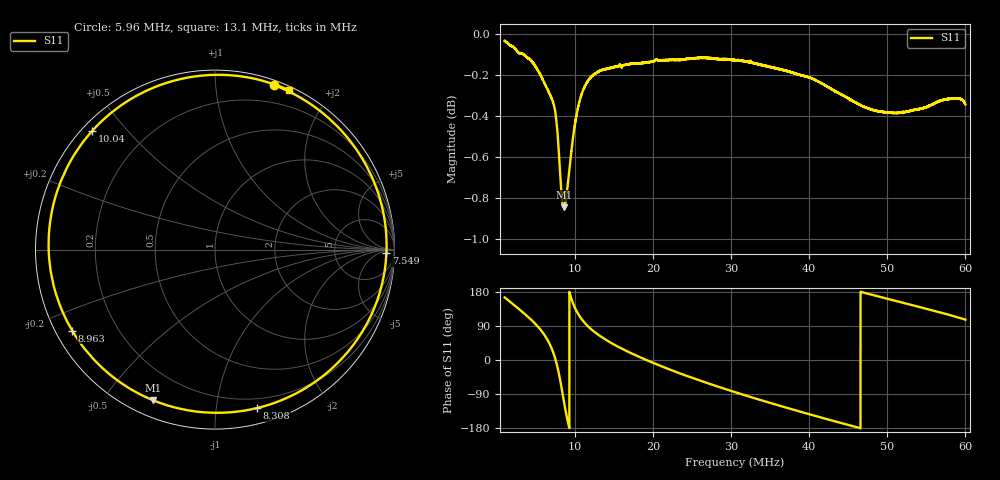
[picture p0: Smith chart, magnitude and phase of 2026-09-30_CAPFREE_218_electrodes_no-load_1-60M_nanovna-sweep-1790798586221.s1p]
! NanoVNA Web complex sweep
! Processing: unaveraged complex samples; linear segment spacing; no smoothing
# Hz S RI R 50
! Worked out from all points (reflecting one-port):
!   10100 points, 1 MHz to 60 MHz, reference 50 ohm
!   lowest |S11| = -0.8 dB at 8.618 MHz (marker M1), VSWR 20.60, Z = 3.51 - j33.4 ohm
!   phase of S11 starts at 165 deg and turns -779 deg over the sweep
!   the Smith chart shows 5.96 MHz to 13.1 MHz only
!   S11 on the Smith chart (normalised r, x): 5.96 MHz: 0.04, +1.42; 7.549 MHz: 37, -16; 8.308 MHz: 0.12, -1.29; 8.963 MHz: 0.05, -0.26; 10.04 MHz: 0.03, +0.40; 13.1 MHz: 0.04, +1.57
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1000000  -0.9628 0.255
2384554  -0.7842 0.6066
3979420  -0.4074 0.8984
5071874  -0.0416 0.9801
5959858  0.3286 0.9168
6836158  0.7471 0.6129
7548882  0.9553 -0.0192
7928612  0.782 -0.5156
8308342  0.2356 -0.8824
8378446  0.1044 -0.905
8617968  -0.3451 -0.8392
8962646  -0.7955 -0.4511
9394954  -0.9224 0.1226
1.004342e7  -0.6837 0.6622
1.055751e7  -0.4342 0.8588
1.120013e7  -0.1563 0.9575
1.309878e7  0.4138 0.8873
1.575105e7  0.827 0.5299
1.916862e7  0.9839 -0.00363
2.31295e7  0.8275 -0.535
2.680411e7  0.4957 -0.8529
3.05021e7  0.0892 -0.9812
3.400146e7  -0.2891 -0.9389
3.78747e7  -0.6361 -0.7432
4.156685e7  -0.8592 -0.4558
4.525315e7  -0.9561 -0.1213
5.262575e7  -0.8097 0.5111
5.999836e7  -0.2715 0.922
